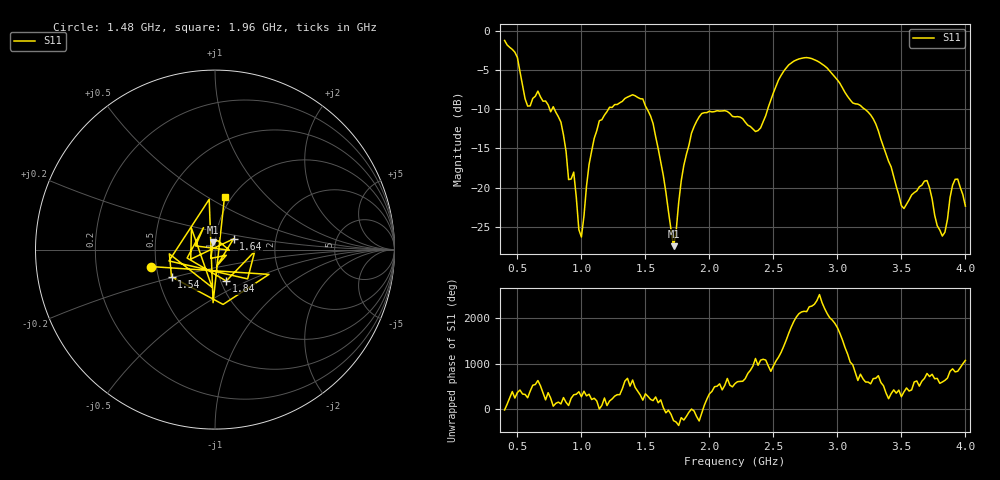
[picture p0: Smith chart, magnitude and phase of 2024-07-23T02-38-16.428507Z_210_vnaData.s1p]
!Created with skrf (http://scikit-rf.org).
# Hz S RI R 50.0
!freq ReS11 ImS11
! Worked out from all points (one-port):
!   181 points, 400 MHz to 4 GHz, reference 50 ohm
!   lowest |S11| = -27.5 dB at 1.72 GHz (marker M1), VSWR 1.09, Z = 48.9 + j4.03 ohm
!   |S11| at or under -10 dB: 788.4 MHz to 1.212 GHz (423.4 MHz wide, 42.3 % of centre); 1.513 GHz to 2.456 GHz (942.7 MHz wide, 47.5 % of centre); 3.212 GHz to end of sweep (the widest 3 of 4)
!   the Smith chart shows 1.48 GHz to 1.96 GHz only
!   S11 on the Smith chart (normalised r, x): 1.48 GHz: 0.47, -0.10; 1.54 GHz: 0.59, -0.19; 1.64 GHz: 1.22, +0.15; 1.84 GHz: 1.06, -0.38; 1.96 GHz: 0.93, +0.60
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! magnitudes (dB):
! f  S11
! 400 MHz  -1.3
! 500 MHz  -3.4
! 580 MHz  -9.6
! 660 MHz  -7.7
! 860 MHz  -13.3
! 900 MHz  -19.0
! 940 MHz  -18.0
! 1 GHz  -26.3
! 1.1 GHz  -13.7
! 1.3 GHz  -9.2
! 1.48 GHz  -8.7
! 1.54 GHz  -10.9
! 1.64 GHz  -18.5
! 1.72 GHz  -27.5
! 1.76 GHz  -21.9
! 1.84 GHz  -14.6
! 1.96 GHz  -10.5
! 2.2 GHz  -11.0
! 2.38 GHz  -12.7
! 2.66 GHz  -3.9
! 3.1 GHz  -8.8
! 3.28 GHz  -11.2
! 3.5 GHz  -22.3
! 3.56 GHz  -21.6
! 3.7 GHz  -19.1
! 3.82 GHz  -26.2
! 3.92 GHz  -19.0
! 4 GHz  -22.4
